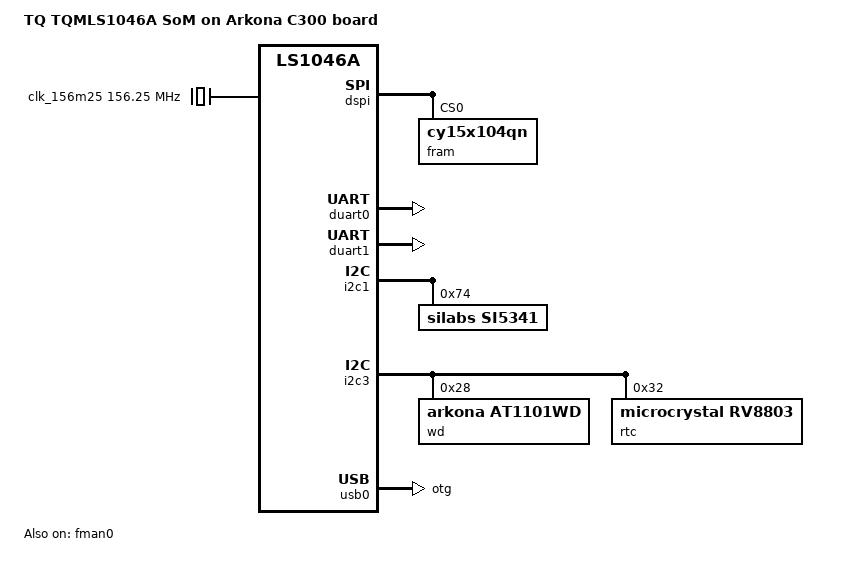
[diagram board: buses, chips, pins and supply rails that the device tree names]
// SPDX-License-Identifier: (GPL-2.0+ OR MIT)
/*
 * Device Tree Include file for TQMLS1046A SoM on MBLS10xxA from TQ
 *
 * Copyright 2018 TQ-Systems GmbH
 */

/dts-v1/;

#include <dt-bindings/input/input.h>
#include <dt-bindings/gpio/gpio.h>

#include "fsl-tqmls1046a.dtsi"

/ {
	model = "TQ TQMLS1046A SoM on Arkona C300 board";
	compatible = "arkona,c300", "tqc,tqmls1046a", "fsl,ls1046a";

	aliases {
		serial0 = &duart0;
		serial1 = &duart1;
		mmc0 = &esdhc;
		qspiflash0 = &qflash0;
		qspiflash1 = &qflash1;
	};

	chosen {
		stdout-path = "serial1:115200n8";

		environment-qspi {
			compatible = "barebox,environment";
			device-path = &environment_qspi;
			status = "disabled";
		};
	};

	clk_156m25: clk_156m25 {
		#clock-cells = <0>;
		compatible = "fixed-clock";
		clock-frequency = <156250000>;
	};
};

&dspi {
	status = "okay";
	fram@0 {
		compatible = "cy15x104qn"; /* FIXME: Not yet supported by spi-nor */
		reg = <0>;
	};
};

&duart0 {
	status = "okay";
};

&duart1 {
	status = "okay";
};

&gpio0 {
	gpio-line-names = "", "", "", "",
			  "", "", "", "",
			  "", "", "", "",
			  "", "", "", "",
			  "", "", "", "",
			  "", "", "", "",
			  "ps2_present", "ps1_present", "io_present", "io_pwr_goodn",
			  "module_slot_id2", "module_slot_id1", "module_slot_id0", "";
};

&gpio2 {
	gpio-line-names = "", "", "", "",
			  "", "", "", "",
			  "", "", "", "",
			  "", "", "", "",
			  "", "", "", "",
			  "", "", "", "",
			  "", "hsc_wpn", "", "usb_fifo_reset",
			  "", "", "", "";
};

&i2c1 {
	status = "okay";
	si5341: clock-generator@74 {
		compatible = "silabs,si5341";
		reg = <0x74>;
		#clock-cells = <2>;
		clocks = <&clk_156m25>;
		clock-names = "in0";
	};
};

&i2c3 {
	status = "okay";

	wd@28 {
		compatible = "arkona,at1101wd";
		reg = <0x28>; /* FIXME: correct? */
	};

	rtc@32 {
		compatible = "microcrystal,rv8803";
		reg = <0x32>;
	};
};

&usb0 {
	dr_mode = "otg";
};

&usb1 {
	status = "disabled";
};

#include <arm64/freescale/fsl-ls1046-post.dtsi>
#include <dt-bindings/net/ti-dp83867.h>

&fman0 {
	status = "okay";
};

&qflash0 {
	partitions {
		#address-cells = <1>;
		#size-cells = <1>;

		compatible = "fixed-partitions";

		partition@0 {
			label = "barebox";
			reg = <0x0 0x200000>;
		};

		environment_qspi: partition@200000 {
			label = "barebox-environment";
			reg = <0x200000 0x80000>;
		};

		partition@280000 {
			label = "data";
			reg = <0x280000 0x0>;
		};
	};
};
